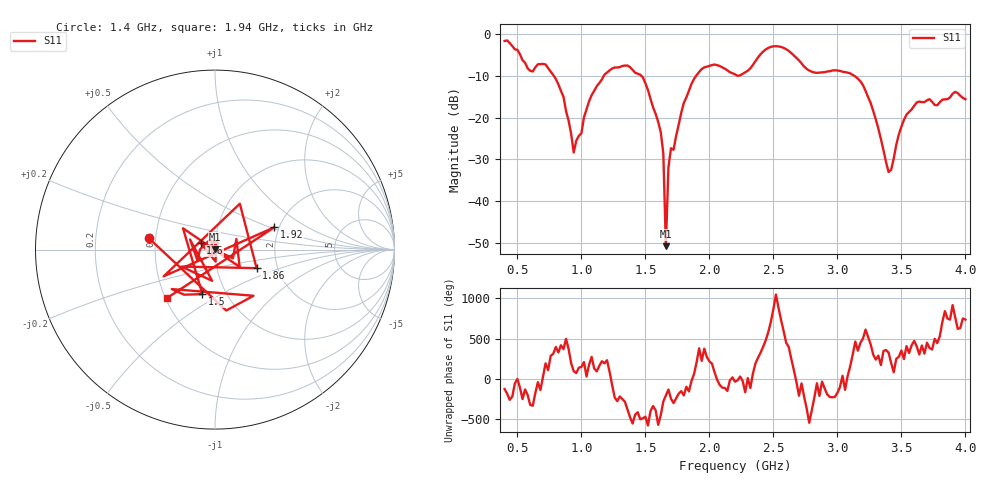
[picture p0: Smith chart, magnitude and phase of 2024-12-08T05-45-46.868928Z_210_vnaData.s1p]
!Created with skrf (http://scikit-rf.org).
# Hz S RI R 50.0
!freq ReS11 ImS11
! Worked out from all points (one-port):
!   181 points, 400 MHz to 4 GHz, reference 50 ohm
!   lowest |S11| = -50.7 dB at 1.66 GHz (marker M1), VSWR 1.01, Z = 49.7 + j0.11 ohm
!   |S11| at or under -10 dB: 784.5 MHz to 1.175 GHz (390.4 MHz wide, 39.9 % of centre); 1.469 GHz to 1.896 GHz (427 MHz wide, 25.4 % of centre); 3.132 GHz to end of sweep
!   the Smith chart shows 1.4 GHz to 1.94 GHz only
!   S11 on the Smith chart (normalised r, x): 1.4 GHz: 0.46, +0.07; 1.5 GHz: 0.77, -0.41; 1.6 GHz: 0.85, +0.07; 1.86 GHz: 1.56, -0.34; 1.92 GHz: 1.88, +0.53; 1.94 GHz: 0.51, -0.32
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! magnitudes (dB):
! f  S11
! 400 MHz  -1.6
! 600 MHz  -8.8
! 720 MHz  -7.3
! 860 MHz  -15.0
! 940 MHz  -28.3
! 1.08 GHz  -14.6
! 1.3 GHz  -7.9
! 1.4 GHz  -8.6
! 1.5 GHz  -11.8
! 1.6 GHz  -21.0
! 1.64 GHz  -28.5
! 1.66 GHz  -50.7
! 1.68 GHz  -31.9
! 1.7 GHz  -27.3
! 1.76 GHz  -21.7
! 1.86 GHz  -11.9
! 1.92 GHz  -9.1
! 1.94 GHz  -8.4
! 2.2 GHz  -9.6
! 2.48 GHz  -3.1
! 2.66 GHz  -5.1
! 2.8 GHz  -9.0
! 3.1 GHz  -9.4
! 3.26 GHz  -16.5
! 3.4 GHz  -33.0
! 3.56 GHz  -18.6
! 3.92 GHz  -13.8
! 4 GHz  -15.6
